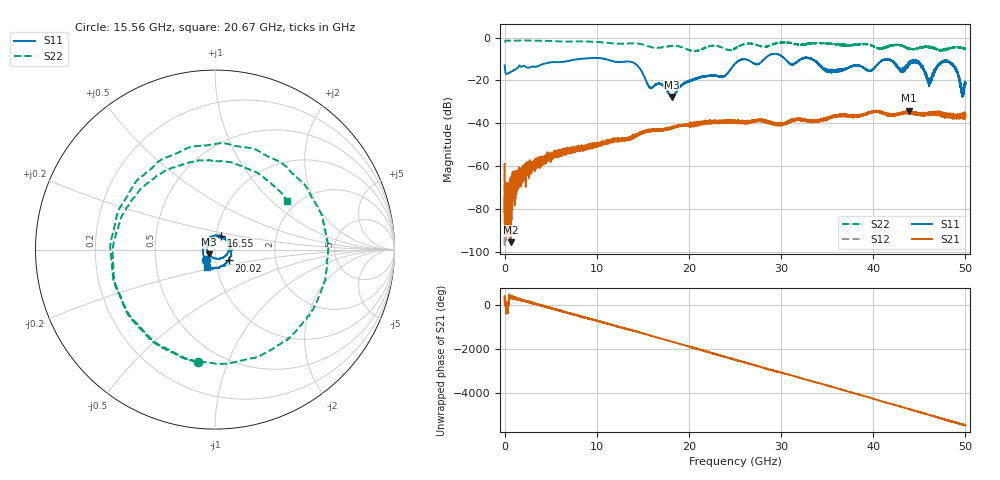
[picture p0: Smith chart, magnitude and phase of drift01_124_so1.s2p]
!Created with skrf (http://scikit-rf.org).
# Hz S RI R 50.0
!freq ReS11 ImS11 ReS21 ImS21 ReS12 ImS12 ReS22 ImS22
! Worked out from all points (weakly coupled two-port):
!   10001 points, 300 kHz to 50 GHz, reference 50 ohm
!   highest |S21| = -34.04 dB at 43.9 GHz (marker M1); lowest = -95.3 dB at 675.3 MHz (marker M2)
!   lowest |S11| = -27.6 dB at 18.12 GHz (marker M3), VSWR 1.09, Z = 46.7 - j2.36 ohm
!   |S11| at or under -10 dB: start of sweep to 8.083 GHz; 10.92 GHz to 28.19 GHz (17.27 GHz wide, 88.3 % of centre); 41.57 GHz to end of sweep (the widest 3 of 9)
!   |S22| runs from -6.4 to -1.4 dB; largest |S21 - S12| = 0.0034
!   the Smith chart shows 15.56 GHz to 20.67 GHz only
!   S11 on the Smith chart (normalised r, x): 15.56 GHz: 0.89, -0.11; 16.55 GHz: 1.06, +0.16; 20.02 GHz: 1.16, -0.14; 20.67 GHz: 0.89, -0.18
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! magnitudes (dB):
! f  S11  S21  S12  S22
! 300 kHz  -12.9  -58.9  -58.8  -2.1
! 255.3 MHz  -16.9  -70.9  -83.5  -1.4
! 675.3 MHz  -16.0  -95.3  -70.5  -1.5
! 2.93 GHz  -13.6  -59.3  -60.1  -1.4
! 8.335 GHz  -9.9  -51.9  -51.7  -1.8
! 13.87 GHz  -11.5  -46.0  -46.6  -2.7
! 15.56 GHz  -22.1  -43.4  -43.5  -4.0
! 16.55 GHz  -21.5  -43.0  -43.1  -4.7
! 16.67 GHz  -21.4  -43.2  -43.3  -4.8
! 18.12 GHz  -27.6  -42.1  -41.9  -3.9
! 20.02 GHz  -20.2  -40.5  -41.1  -5.8
! 20.67 GHz  -19.3  -40.7  -40.3  -6.3
! 23.76 GHz  -18.1  -39.0  -39.4  -5.0
! 25 GHz  -12.2  -39.3  -38.8  -5.1
! 33.34 GHz  -10.0  -38.6  -39.2  -2.6
! 35.38 GHz  -15.8  -37.1  -37.3  -3.0
! 41.67 GHz  -10.2  -35.8  -36.2  -4.2
! 43.9 GHz  -12.4  -34.0  -35.1  -5.1
! 44.95 GHz  -11.6  -35.4  -35.4  -4.7
! 46.12 GHz  -20.4  -35.1  -35.5  -4.3
! 48.09 GHz  -11.3  -35.9  -36.2  -5.1
! 50 GHz  -21.7  -36.9  -37.0  -5.3
